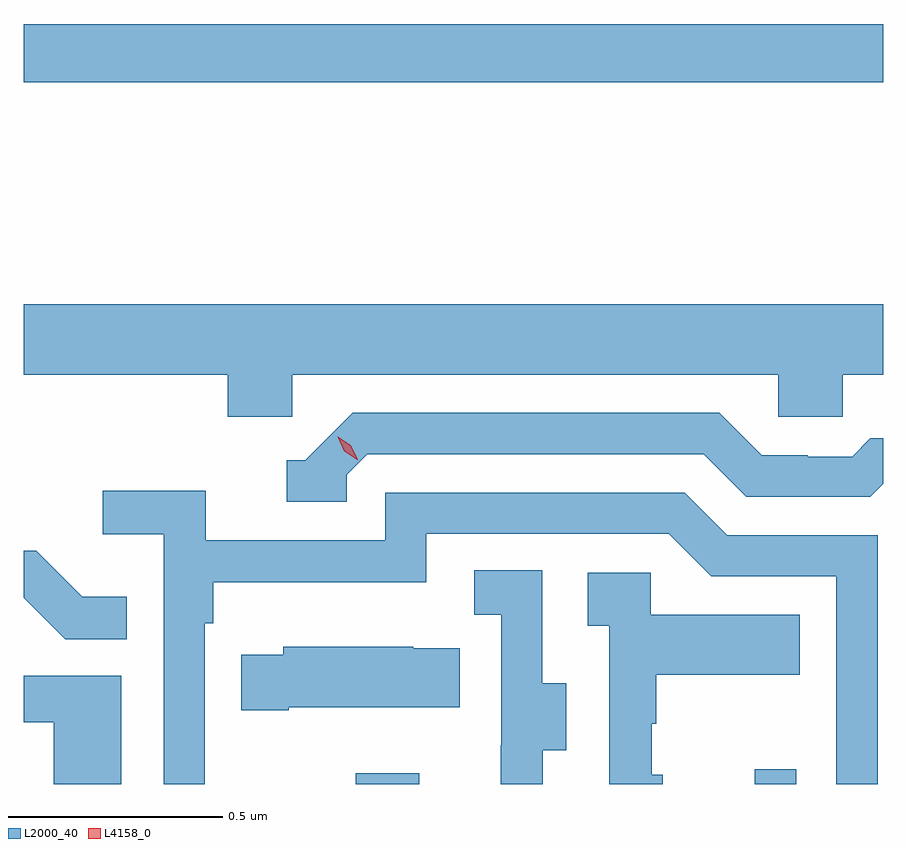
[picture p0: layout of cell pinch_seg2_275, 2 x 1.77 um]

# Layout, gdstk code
import gdstk
lib = gdstk.Library(unit=1e-6, precision=1e-09)
def R(c, l, rs):  # rectangles x0, y0, x1, y1
    for r in rs: c.add(gdstk.rectangle(r[:2], r[2:], *l))
def P(c, l, *ps):  # polygons
    for p in ps: c.add(gdstk.Polygon(p, *l))
L2000_40 = (2000, 40)
L4158_0 = (4158, 0)

pinch_seg2_275 = lib.new_cell('pinch_seg2_275')
R(pinch_seg2_275, L2000_40, [(902.644,660.003,902.791,660.028), (903.572,660.003,903.669,660.037), (901.871,661.636,903.871,661.772)])
P(pinch_seg2_275, L2000_40, [(902.496,660.956),(903.627,660.956),(903.627,660.858),(903.777,660.858),(903.777,660.956),(903.871,660.956),(903.871,661.12),(901.871,661.12),(901.871,660.956),(902.345,660.956),(902.345,660.858),(902.496,660.858)],
  [(902.622,660.723),(902.67,660.771),(903.453,660.771),(903.552,660.672),(903.841,660.672),(903.871,660.702),(903.871,660.808),(903.841,660.808),(903.799,660.765),(903.696,660.765),(903.696,660.768),(903.589,660.768),(903.49,660.867),(902.637,660.867),(902.526,660.756),(902.483,660.756),(902.483,660.66),(902.622,660.66)],
  [(902.292,660.377),(902.312,660.377),(902.312,660.473),(902.808,660.473),(902.808,660.585),(903.372,660.585),(903.471,660.486),(903.762,660.486),(903.762,660.003),(903.858,660.003),(903.858,660.582),(903.508,660.582),(903.409,660.681),(902.712,660.681),(902.712,660.57),(902.294,660.57),(902.294,660.686),(902.055,660.686),(902.055,660.584),(902.196,660.584),(902.196,660.003),(902.292,660.003)],
  [(902.111,660.439),(902.007,660.439),(901.9,660.546),(901.871,660.546),(901.871,660.436),(901.967,660.34),(902.111,660.34)],
  [(903.079,660.082),(903.133,660.082),(903.133,660.237),(903.078,660.237),(903.078,660.5),(902.919,660.5),(902.919,660.397),(902.982,660.397),(902.982,660.093),(902.981,660.093),(902.981,660.003),(903.079,660.003)],
  [(903.358,660.024),(903.333,660.024),(903.333,660.143),(903.343,660.143),(903.343,660.257),(903.677,660.257),(903.677,660.397),(903.33,660.397),(903.33,660.495),(903.183,660.495),(903.183,660.371),(903.234,660.371),(903.234,660.003),(903.358,660.003)],
  [(902.488,660.182),(902.885,660.182),(902.885,660.319),(902.777,660.319),(902.777,660.322),(902.475,660.322),(902.475,660.304),(902.377,660.304),(902.377,660.175),(902.488,660.175)],
  [(902.098,660.255),(901.871,660.255),(901.871,660.147),(901.94,660.147),(901.94,660.003),(902.098,660.003)])
P(pinch_seg2_275, L4158_0, [(902.647,660.758),(902.617,660.778),(902.601,660.811),(902.601,660.811),(902.601,660.811),(902.632,660.791),(902.648,660.759),(902.648,660.758)])

lib.write_gds('pinch_seg2_275.gds')
